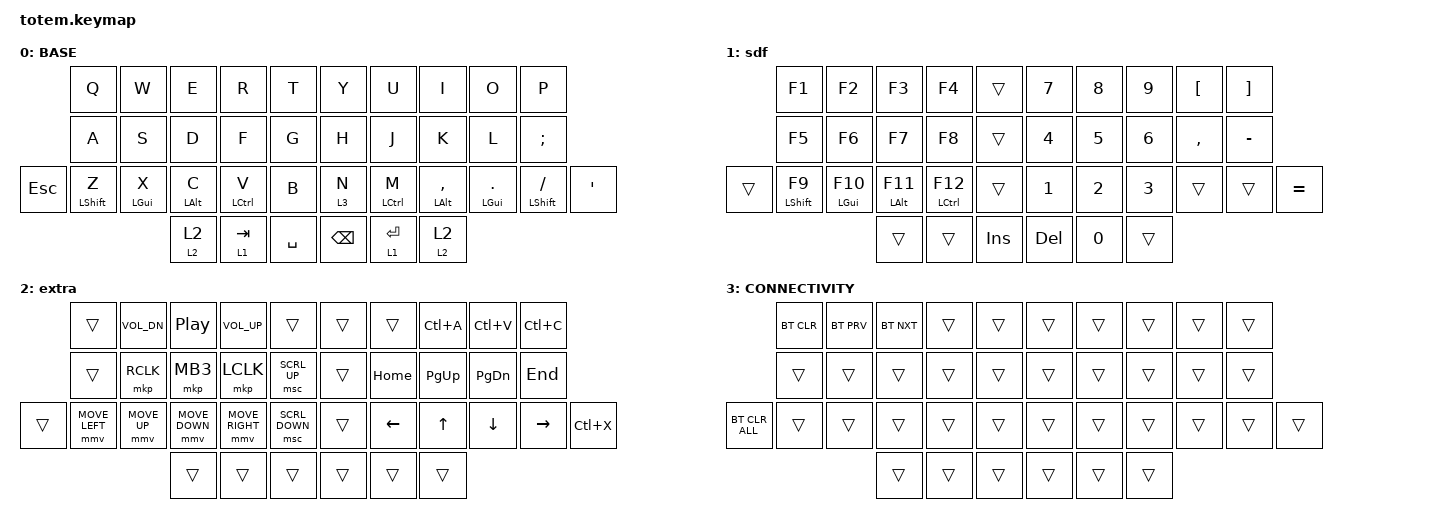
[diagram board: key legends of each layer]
//
//                                                        ▀▀▀▀▀     ▀▀▀▀▀          ▀▀█▀▀
//                                                        ▄▀▀▀▄  ▄  ▄▀▀▀▄  ▄  ▄▀▀▀▄  █  ▄▀▀▀▄
//                                                        █   █  █  █   █  █  █   █  █  █   █
//                                                         ▀▀▀   █   ▀▀▀   █   ▀▀▀   ▀   ▀▀▀
//                                                               █      ▄▄▄█▄▄▄    █   █  
//                                                               ▀      █  █  █     █▄█
//                                                             ▀▀▀▀▀    █  █  █      ▀
//                                                                      ▀  ▀  ▀
//
// ▄▄▄▄▄▄▄▄▄▄▄▄▄▄▄▄▄▄▄▄▄▄▄▄▄▄▄▄▄▄▄▄▄▄▄▄▄▄▄▄▄▄▄▄▄▄▄▄▄▄▄▄▄▄▄▄▄▄▄▄▄▄▄▄▄▄▄▄▄▄▄▄▄▄▄▄▄▄▄▄▄▄▄▄▄▄▄▄▄▄▄▄▄▄▄▄▄▄▄▄▄▄▄▄▄▄▄▄▄▄▄▄▄▄▄▄▄▄▄▄▄▄▄▄▄▄▄▄▄▄▄▄▄▄▄▄▄▄▄▄▄▄▄▄▄▄▄▄▄

#include <behaviors.dtsi>
#include <dt-bindings/zmk/bt.h>
#include <dt-bindings/zmk/keys.h>
#include <dt-bindings/zmk/pointing.h>

#define BASE 0
#define NAV  1
#define SYM  2
#define ADJ  3
#define TVP1 4
#define TVP2 5

&mt {
    quick-tap-ms = <100>;
    global-quick-tap;
    flavor = "tap-preferred";
    tapping-term-ms = <170>;
};

/ {
    combos {
        compatible = "zmk,combos";

        grave_tilda {
            bindings = <&kp GRAVE>;
            key-positions = <20 10>;
            layers = <0>;
        };

        pipe_slash {
            bindings = <&kp BACKSLASH>;
            key-positions = <31 19>;
            layers = <0>;
        };
    };

    macros {
        gif: gif {
            label = "giphy";
            compatible = "zmk,behavior-macro";
            #binding-cells = <0>;
            bindings =
                <&macro_press>,
                <&kp LSHFT>,
                <&macro_tap>,
                <&kp N2>,
                <&macro_release>,
                <&kp LSHFT>,
                <&macro_tap>,
                <&kp G &kp I &kp F>;
        };
    };

    behaviors {
        mo_tog: mo_tog {
            compatible = "zmk,behavior-hold-tap";
            label = "MO_TOG";
            bindings = <&mo>, <&tog>;

            #binding-cells = <2>;
            tapping-term-ms = <200>;
        };
    };

    keymap {
        compatible = "zmk,keymap";

        // ▄▄▄▄▄▄▄▄▄▄▄▄▄▄▄▄▄▄▄▄▄▄▄▄▄▄▄▄▄▄▄▄▄▄▄▄▄▄▄▄▄▄▄▄▄▄▄▄▄▄▄▄▄▄▄▄▄▄▄▄▄▄▄▄▄▄▄▄▄▄▄▄▄▄▄▄▄▄▄▄▄▄▄▄▄▄▄▄▄▄▄▄▄▄▄▄▄▄▄▄▄▄▄▄▄▄▄▄▄▄▄▄▄▄▄▄▄▄▄▄▄▄▄▄▄▄▄▄▄▄▄▄▄▄▄▄▄▄▄▄▄▄▄▄▄▄▄▄▄

        base_layer {
            // ┏━━━━━━━━━━━━━━━━━━━━━━━━━━━━━━━━━━━━━━━┓

            label = "BASE";

            // ┗━━━━━━━━━━━━━━━━━━━━━━━━━━━━━━━━━━━━━━━┛
            //             ┏━━━━━━━━━━━┳━━━━━━━━━━━┳━━━━━━━━━━━┳━━━━━━━━━━━┳━━━━━━━━━━━┓   ┏━━━━━━━━━━━┳━━━━━━━━━━━┳━━━━━━━━━━━┳━━━━━━━━━━━┳━━━━━━━━━━━┓
            //             ┃     Q     ┃     W     ┃     F     ┃     P     ┃     G     ┃   ┃     J     ┃     L     ┃     U     ┃     Y     ┃     ;     ┃
            //             ┣━━━━━━━━━━━╋━━━━━━━━━━━╋━━━━━━━━━━━╋━━━━━━━━━━━╋━━━━━━━━━━━┫   ┣━━━━━━━━━━━╋━━━━━━━━━━━╋━━━━━━━━━━━╋━━━━━━━━━━━╋━━━━━━━━━━━┫
            //             ┃     A     ┃     R     ┃     S     ┃     T     ┃     D     ┃   ┃     H     ┃     N     ┃     E     ┃     I     ┃     O     ┃
            // ┏━━━━━━━━━━━╋━━━━━━━━━━━╋━━━━━━━━━━━╋━━━━━━━━━━━╋━━━━━━━━━━━╋━━━━━━━━━━━┫   ┣━━━━━━━━━━━╋━━━━━━━━━━━╋━━━━━━━━━━━╋━━━━━━━━━━━╋━━━━━━━━━━━╋━━━━━━━━━━━┓
            // ┃     Q     ┃     Z     ┃     X     ┃     C     ┃     V     ┃     B     ┃   ┃     K     ┃     M     ┃     ,     ┃     .     ┃     /     ┃     \     ┃
            // ┗━━━━━━━━━━━┻━━━━━━━━━━━┻━━━━━━━━━━━╋━━━━━━━━━━━╋━━━━━━━━━━━╋━━━━━━━━━━━┫   ┣━━━━━━━━━━━╋━━━━━━━━━━━╋━━━━━━━━━━━╋━━━━━━━━━━━┻━━━━━━━━━━━┻━━━━━━━━━━━┛
            //                                     ┃    DEL    ┃    TAB    ┃    SPC    ┃   ┃   ENTER   ┃           ┃   BSPC    ┃
            //                                     ┗━━━━━━━━━━━┻━━━━━━━━━━━┻━━━━━━━━━━━┛   ┗━━━━━━━━━━━┻━━━━━━━━━━━┻━━━━━━━━━━━┛

            bindings = <
            &kp Q             &kp W           &kp E           &kp R        &kp T        &kp Y          &kp U               &kp I               &kp O                &kp P
            &kp A             &kp S           &kp D           &kp F        &kp G        &kp H          &kp J               &kp K               &kp L                &kp SEMI
&kp ESCAPE  &mt LEFT_SHIFT Z  &mt LEFT_GUI X  &mt LEFT_ALT C  &mt LCTRL V  &kp B        &lt 3 N        &mt LEFT_CONTROL M  &mt LEFT_ALT COMMA  &mt LEFT_GUI PERIOD  &mt LEFT_SHIFT SLASH  &kp SQT
                                              &mo_tog 2 2     &lt 1 TAB    &kp SPACE    &kp BACKSPACE  &lt 1 ENTER         &mo_tog 2 2
            >;
        };

        // ▄▄▄▄▄▄▄▄▄▄▄▄▄▄▄▄▄▄▄▄▄▄▄▄▄▄▄▄▄▄▄▄▄▄▄▄▄▄▄▄▄▄▄▄▄▄▄▄▄▄▄▄▄▄▄▄▄▄▄▄▄▄▄▄▄▄▄▄▄▄▄▄▄▄▄▄▄▄▄▄▄▄▄▄▄▄▄▄▄▄▄▄▄▄▄▄▄▄▄▄▄▄▄▄▄▄▄▄▄▄▄▄▄▄▄▄▄▄▄▄▄▄▄▄▄▄▄▄▄▄▄▄▄▄▄▄▄▄▄▄▄▄▄▄▄▄▄▄▄

        symbols_digits_fs {
            // ┏━━━━━━━━━━━━━━━━━━━━━━━━━━━━━━━━━━━━━━━┓

            label = "sdf";

            // ┗━━━━━━━━━━━━━━━━━━━━━━━━━━━━━━━━━━━━━━━┛
            //             ┏━━━━━━━━━━━┳━━━━━━━━━━━┳━━━━━━━━━━━┳━━━━━━━━━━━┳━━━━━━━━━━━┓   ┏━━━━━━━━━━━┳━━━━━━━━━━━┳━━━━━━━━━━━┳━━━━━━━━━━━┳━━━━━━━━━━━┓
            //             ┃           ┃           ┃     UP    ┃           ┃     {     ┃   ┃     }     ┃     7     ┃     8     ┃     9     ┃     +     ┃
            //             ┣━━━━━━━━━━━╋━━━━━━━━━━━╋━━━━━━━━━━━╋━━━━━━━━━━━╋━━━━━━━━━━━┫   ┣━━━━━━━━━━━╋━━━━━━━━━━━╋━━━━━━━━━━━╋━━━━━━━━━━━╋━━━━━━━━━━━┫
            //             ┃   SHIFT   ┃   LEFT    ┃    DOWN   ┃   RIGHT   ┃     [     ┃   ┃     ]     ┃     4     ┃     5     ┃     6     ┃     -     ┃
            // ┏━━━━━━━━━━━╋━━━━━━━━━━━╋━━━━━━━━━━━╋━━━━━━━━━━━╋━━━━━━━━━━━╋━━━━━━━━━━━┫   ┣━━━━━━━━━━━╋━━━━━━━━━━━╋━━━━━━━━━━━╋━━━━━━━━━━━╋━━━━━━━━━━━╋━━━━━━━━━━━┓
            // ┃           ┃           ┃   P UP    ┃  C LOCK   ┃  P DOWN   ┃     (     ┃   ┃     )     ┃     1     ┃     2     ┃     3     ┃     *     ┃           ┃
            // ┗━━━━━━━━━━━┻━━━━━━━━━━━┻━━━━━━━━━━━╋━━━━━━━━━━━╋━━━━━━━━━━━╋━━━━━━━━━━━┫   ┣━━━━━━━━━━━╋━━━━━━━━━━━╋━━━━━━━━━━━╋━━━━━━━━━━━┻━━━━━━━━━━━┻━━━━━━━━━━━┛
            //                                     ┃           ┃    TAB    ┃    SPC    ┃   ┃    DEL    ┃     0     ┃           ┃
            //                                     ┗━━━━━━━━━━━┻━━━━━━━━━━━┻━━━━━━━━━━━┛   ┗━━━━━━━━━━━┻━━━━━━━━━━━┻━━━━━━━━━━━┛

            bindings = <
        &kp F1             &kp F2            &kp F3            &kp F4         &trans        &kp N7        &kp N8        &kp N9        &kp LEFT_BRACKET  &kp RIGHT_BRACKET
        &kp F5             &kp F6            &kp F7            &kp F8         &trans        &kp NUMBER_4  &kp N5        &kp NUMBER_6  &kp COMMA         &kp MINUS
&trans  &mt LEFT_SHIFT F9  &mt LEFT_GUI F10  &mt LEFT_ALT F11  &mt LCTRL F12  &trans        &kp NUMBER_1  &kp NUMBER_2  &kp NUMBER_3  &trans            &trans             &kp EQUAL
                                             &trans            &trans         &kp INSERT    &kp DELETE    &kp N0        &trans
            >;
        };

        // ▄▄▄▄▄▄▄▄▄▄▄▄▄▄▄▄▄▄▄▄▄▄▄▄▄▄▄▄▄▄▄▄▄▄▄▄▄▄▄▄▄▄▄▄▄▄▄▄▄▄▄▄▄▄▄▄▄▄▄▄▄▄▄▄▄▄▄▄▄▄▄▄▄▄▄▄▄▄▄▄▄▄▄▄▄▄▄▄▄▄▄▄▄▄▄▄▄▄▄▄▄▄▄▄▄▄▄▄▄▄▄▄▄▄▄▄▄▄▄▄▄▄▄▄▄▄▄▄▄▄▄▄▄▄▄▄▄▄▄▄▄▄▄▄▄▄▄▄▄

        extra {
            // ┏━━━━━━━━━━━━━━━━━━━━━━━━━━━━━━━━━━━━━━━┓

            label = "extra";

            // ┗━━━━━━━━━━━━━━━━━━━━━━━━━━━━━━━━━━━━━━━┛
            //             ┏━━━━━━━━━━━┳━━━━━━━━━━━┳━━━━━━━━━━━┳━━━━━━━━━━━┳━━━━━━━━━━━┓   ┏━━━━━━━━━━━┳━━━━━━━━━━━┳━━━━━━━━━━━┳━━━━━━━━━━━┳━━━━━━━━━━━┓
            //             ┃     !     ┃     @     ┃     #     ┃     $     ┃     %     ┃   ┃     ˆ     ┃     &     ┃     Ü     ┃     '     ┃     "     ┃
            //             ┣━━━━━━━━━━━╋━━━━━━━━━━━╋━━━━━━━━━━━╋━━━━━━━━━━━╋━━━━━━━━━━━┫   ┣━━━━━━━━━━━╋━━━━━━━━━━━╋━━━━━━━━━━━╋━━━━━━━━━━━╋━━━━━━━━━━━┫
            //             ┃     Ä     ┃           ┃    SZ     ┃           ┃           ┃   ┃   MUTE    ┃   YEN     ┃   EURO    ┃  POUND    ┃     Ö     ┃
            // ┏━━━━━━━━━━━╋━━━━━━━━━━━╋━━━━━━━━━━━╋━━━━━━━━━━━╋━━━━━━━━━━━╋━━━━━━━━━━━┫   ┣━━━━━━━━━━━╋━━━━━━━━━━━╋━━━━━━━━━━━╋━━━━━━━━━━━╋━━━━━━━━━━━╋━━━━━━━━━━━┓
            // ┃           ┃  EMAIL1   ┃  EMAIL2   ┃           ┃           ┃           ┃   ┃   VOL-    ┃   VOL+    ┃   LAST    ┃   NEXT    ┃     \     ┃           ┃
            // ┗━━━━━━━━━━━┻━━━━━━━━━━━┻━━━━━━━━━━━╋━━━━━━━━━━━╋━━━━━━━━━━━╋━━━━━━━━━━━┫   ┣━━━━━━━━━━━╋━━━━━━━━━━━╋━━━━━━━━━━━╋━━━━━━━━━━━┻━━━━━━━━━━━┻━━━━━━━━━━━┛
            //                                     ┃           ┃    GIF    ┃    ADJ    ┃   ┃           ┃           ┃           ┃
            //                                     ┗━━━━━━━━━━━┻━━━━━━━━━━━┻━━━━━━━━━━━┛   ┗━━━━━━━━━━━┻━━━━━━━━━━━┻━━━━━━━━━━━┛

            bindings = <
        &trans          &kp C_VOL_DN  &kp C_PLAY_PAUSE  &kp C_VOLUME_UP  &trans            &trans  &trans          &kp LC(A)     &kp LC(V)       &kp LC(C)
        &trans          &mkp RCLK     &mkp MB3          &mkp LCLK        &msc SCRL_UP      &trans  &kp HOME        &kp PAGE_UP   &kp PAGE_DOWN   &kp END
&trans  &mmv MOVE_LEFT  &mmv MOVE_UP  &mmv MOVE_DOWN    &mmv MOVE_RIGHT  &msc SCRL_DOWN    &trans  &kp LEFT_ARROW  &kp UP_ARROW  &kp DOWN_ARROW  &kp RIGHT_ARROW  &kp LC(X)
                                      &trans            &trans           &trans            &trans  &trans          &trans
            >;
        };

        CONNECTIVITY {
            bindings = <
                &bt BT_CLR  &bt BT_PRV  &bt BT_NXT  &trans  &trans    &trans  &trans  &trans  &trans  &trans
                &trans      &trans      &trans      &trans  &trans    &trans  &trans  &trans  &trans  &trans
&bt BT_CLR_ALL  &trans      &trans      &trans      &trans  &trans    &trans  &trans  &trans  &trans  &trans  &trans
                                        &trans      &trans  &trans    &trans  &trans  &trans
            >;
        };

        // ▄▄▄▄▄▄▄▄▄▄▄▄▄▄▄▄▄▄▄▄▄▄▄▄▄▄▄▄▄▄▄▄▄▄▄▄▄▄▄▄▄▄▄▄▄▄▄▄▄▄▄▄▄▄▄▄▄▄▄▄▄▄▄▄▄▄▄▄▄▄▄▄▄▄▄▄▄▄▄▄▄▄▄▄▄▄▄▄▄▄▄▄▄▄▄▄▄▄▄▄▄▄▄▄▄▄▄▄▄▄▄▄▄▄▄▄▄▄▄▄▄▄▄▄▄▄▄▄▄▄▄▄▄▄▄▄▄▄▄▄▄▄▄▄▄▄▄▄▄
        // ▄▄▄▄▄▄▄▄▄▄▄▄▄▄▄▄▄▄▄▄▄▄▄▄▄▄▄▄▄▄▄▄▄▄▄▄▄▄▄▄▄▄▄▄▄▄▄▄▄▄▄▄▄▄▄▄▄▄▄▄▄▄▄▄▄▄▄▄▄▄▄▄▄▄▄▄▄▄▄▄▄▄▄▄▄▄▄▄▄▄▄▄▄▄▄▄▄▄▄▄▄▄▄▄▄▄▄▄▄▄▄▄▄▄▄▄▄▄▄▄▄▄▄▄▄▄▄▄▄▄▄▄▄▄▄▄▄▄▄▄▄▄▄▄▄▄▄▄▄
        // ▄▄▄▄▄▄▄▄▄▄▄▄▄▄▄▄▄▄▄▄▄▄▄▄▄▄▄▄▄▄▄▄▄▄▄▄▄▄▄▄▄▄▄▄▄▄▄▄▄▄▄▄▄▄▄▄▄▄▄▄▄▄▄▄▄▄▄▄▄▄▄▄▄▄▄▄▄▄▄▄▄▄▄▄▄▄▄▄▄▄▄▄▄▄▄▄▄▄▄▄▄▄▄▄▄▄▄▄▄▄▄▄▄▄▄▄▄▄▄▄▄▄▄▄▄▄▄▄▄▄▄▄▄▄▄▄▄▄▄▄▄▄▄▄▄▄▄▄▄
    };
};
